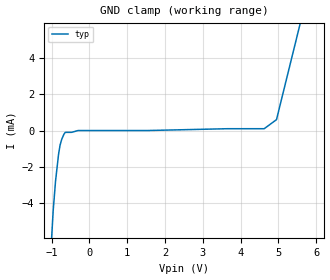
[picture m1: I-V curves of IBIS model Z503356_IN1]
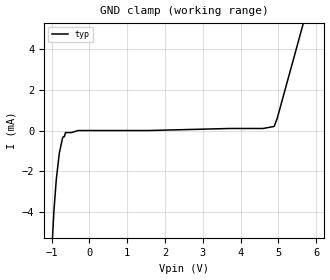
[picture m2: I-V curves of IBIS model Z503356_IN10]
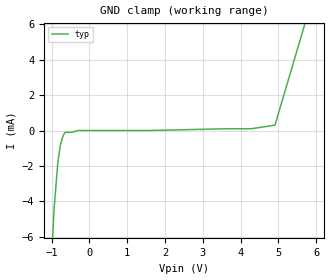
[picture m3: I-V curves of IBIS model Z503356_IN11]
| YOU ARE ONLY AUTHORIZED TO USE THIS SOFTWARE
| ACCORDING TO LICENSOR'S LICENSE RESTRICTIONS.
[IBIS Ver] 3.1
[File Name] mc100e104fn_pecl.ibs
[File Rev] 2.0
[Source] Measured and created by ICX Technology
[Date] Friday 7/14/00 9:07:46 AM
[Copyright]
| (C) COPYRIGHT 1993-2000
| MENTOR GRAPHICS CORPORATION
| ICX STANDARD LIBRARY, ICX PROJECT MODELING,
| ICX CUSTOM MODELING, ICX VENDOR MODEL
| ALL RIGHTS RESERVED.
| THE FOLLOWING ARE TRADEMARKS OR SERVICE MARKS OF
| MENTOR GRAPHICS CORPORATION:ICX (R), ICX STANDARD
| LIBRARY(R), ICX PROJECT MODELING(R), ICX CUSTOM
| MODELING(R), qualityIBIS(TM), MODELVIEWER(TM),
| AND MODELEDITOR(TM)
| ALL COPIES OF SOFTWARE, INCLUDING BUT NOT LIMITED TO
| ANY MODIFICATIONS, ENHANCEMENTS OR DERIVATIVE WORKS,
| MUST CONTAIN ALL MENTOR GRAPHICS CORPORATION'S
| NOTICES AND LEGENDS, INCLUDING THOSE EMBEDDED IN
| SOFTWARE AND THOSE AFFIXED TO SOFTWARE MEDIUM
| AND CONTAINER, AS RECEIVED FROM MENTOR GRAPHICS
| CORPORATION.
|  ZAP Model Builder 2.7
[Component] MC100E104FN_PECL
[Manufacturer] OnSemiconductor
[Package]
| variable   typ   min   max
R_pkg  .083ohms NA NA
L_pkg  4.299nH NA NA
C_pkg  1.045pF NA NA
[Pin] signal_name  model_name  R_pin  L_pin C_pin
1 VEE GND .08 3.94n .925p
2 D1a Z503356_IN1 .082 4.14n .995p
3 D1b Z503356_IN1 .084 4.354n 1.065p
4 D0a Z503356_IN2 .086 4.583n 1.135p
5 D0b Z503356_IN2 .086 4.583n 1.135p
6 VCCO POWER .084 4.354n 1.065p
7 Q0 Z503356_OUT3 .082 4.14n .995p
8 _Q0 Z503356_OUT4 .08 3.94n .925p
9 Q1 Z503356_OUT3 .082 4.14n .995p
10 _Q1 Z503356_OUT4 .084 4.354n 1.065p
11 VCCO POWER .086 4.583n 1.135p
12 Q2 Z503356_OUT5 .086 4.583n 1.135p
13 _Q2 Z503356_OUT6 .084 4.354n 1.065p
14 Q3 Z503356_OUT5 .082 4.14n .995p
15 _Q3 Z503356_OUT6 .08 3.94n .925p
16 VCC POWER .082 4.14n .995p
17 Q4 Z503356_OUT7 .084 4.354n 1.065p
18 _Q4 Z503356_OUT8 .086 4.583n 1.135p
19 _F Z503356_OUT8 .086 4.583n 1.135p
20 F Z503356_OUT3 .084 4.354n 1.065p
21 VCCO POWER .082 4.14n .995p
22 NC NC .08 3.94n .925p
23 D4a Z503356_IN9 .082 4.14n .995p
24 D4b Z503356_IN9 .084 4.354n 1.065p
25 D3a Z503356_IN10 .086 4.583n 1.135p
26 D3b Z503356_IN10 .086 4.583n 1.135p
27 D2a Z503356_IN11 .084 4.354n 1.065p
28 D2b Z503356_IN11 .082 4.14n .995p
| Models and submodels in the file (11): Z503356_IN1 (Input_ECL), Z503356_IN10 (Input_ECL), Z503356_IN11 (Input_ECL), Z503356_IN2 (Input_ECL), Z503356_IN9 (Input_ECL), Z503356_OUT3 (Output_ECL), Z503356_OUT4 (Output_ECL), Z503356_OUT5 (Output_ECL), Z503356_OUT6 (Output_ECL), Z503356_OUT7 (Output_ECL), Z503356_OUT8 (Output_ECL)
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| (C) COPYRIGHT 1993-2000
| MENTOR GRAPHICS CORPORATION
| ICX STANDARD LIBRARY, ICX PROJECT MODELING,
| ICX CUSTOM MODELING, ICX VENDOR MODEL
| ALL RIGHTS RESERVED.
| THE FOLLOWING ARE TRADEMARKS OR SERVICE MARKS OF
| MENTOR GRAPHICS CORPORATION:ICX (R), ICX STANDARD
| LIBRARY(R), ICX PROJECT MODELING(R), ICX CUSTOM
| MODELING(R), qualityIBIS(TM), MODELVIEWER(TM),
| AND MODELEDITOR(TM)
| ALL COPIES OF SOFTWARE, INCLUDING BUT NOT LIMITED TO
| ANY MODIFICATIONS, ENHANCEMENTS OR DERIVATIVE WORKS,
| MUST CONTAIN ALL MENTOR GRAPHICS CORPORATION'S
| NOTICES AND LEGENDS, INCLUDING THOSE EMBEDDED IN
| SOFTWARE AND THOSE AFFIXED TO SOFTWARE MEDIUM
| AND CONTAINER, AS RECEIVED FROM MENTOR GRAPHICS
| CORPORATION.
| Model Application Version 1.89 2/18/99.
[Model] Z503356_IN1
Model_type Input_ECL
Vinl = 3.525V
Vinh = 3.835V
C_comp 4.000pF NA NA
| variable typ   min   max
[Voltage Range] 5.000V NA NA
[GND Clamp Reference] 0.000V NA NA
[POWER Clamp Reference] 5.000V NA NA
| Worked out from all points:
|   GND clamp passes 1 mA (typ) near -0.79 V on its own axis
[GND Clamp]
-5V       -201.6mA   NA         NA
-1.079V   -8.8mA     NA         NA
-957mV    -4.4mA     NA         NA
-896mV    -2.8mA     NA         NA
-815mV    -1.3mA     NA         NA
-775mV    -800uA     NA         NA
-734mV    -500uA     NA         NA
-637.7mV  -100uA     NA         NA
-301.3mV  0A         NA         NA
4.625V    100uA      NA         NA
4.95V     600uA      NA         NA
10V       43.28mA    NA         NA
[POWER Clamp]
-5V       0A         NA         NA
10V       0A         NA         NA
| (C) COPYRIGHT 1993-2000
| MENTOR GRAPHICS CORPORATION
| ICX STANDARD LIBRARY, ICX PROJECT MODELING,
| ICX CUSTOM MODELING, ICX VENDOR MODEL
| ALL RIGHTS RESERVED.
| THE FOLLOWING ARE TRADEMARKS OR SERVICE MARKS OF
| MENTOR GRAPHICS CORPORATION:ICX (R), ICX STANDARD
| LIBRARY(R), ICX PROJECT MODELING(R), ICX CUSTOM
| MODELING(R), qualityIBIS(TM), MODELVIEWER(TM),
| AND MODELEDITOR(TM)
| ALL COPIES OF SOFTWARE, INCLUDING BUT NOT LIMITED TO
| ANY MODIFICATIONS, ENHANCEMENTS OR DERIVATIVE WORKS,
| MUST CONTAIN ALL MENTOR GRAPHICS CORPORATION'S
| NOTICES AND LEGENDS, INCLUDING THOSE EMBEDDED IN
| SOFTWARE AND THOSE AFFIXED TO SOFTWARE MEDIUM
| AND CONTAINER, AS RECEIVED FROM MENTOR GRAPHICS
| CORPORATION.
| Model Application Version 1.89 2/18/99.
[Model] Z503356_IN10
Model_type Input_ECL
Vinl = 3.525V
Vinh = 3.835V
C_comp 4.000pF NA NA
| variable typ   min   max
[Voltage Range] 5.000V NA NA
[GND Clamp Reference] 0.000V NA NA
[POWER Clamp Reference] 5.000V NA NA
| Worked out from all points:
|   GND clamp passes 1 mA (typ) near -0.78 V on its own axis
[GND Clamp]
-5V       -201.6mA   NA         NA
-1.079V   -8.8mA     NA         NA
-937mV    -3.9mA     NA         NA
-876mV    -2.4mA     NA         NA
-795mV    -1.1mA     NA         NA
-714mV    -400uA     NA         NA
-660.9mV  -300uA     NA         NA
-633mV    -100uA     NA         NA
4.595V    100uA      NA         NA
4.889V    200uA      NA         NA
4.97V     600uA      NA         NA
10V       34.43mA    NA         NA
[POWER Clamp]
-5V       0A         NA         NA
10V       0A         NA         NA
| (C) COPYRIGHT 1993-2000
| MENTOR GRAPHICS CORPORATION
| ICX STANDARD LIBRARY, ICX PROJECT MODELING,
| ICX CUSTOM MODELING, ICX VENDOR MODEL
| ALL RIGHTS RESERVED.
| THE FOLLOWING ARE TRADEMARKS OR SERVICE MARKS OF
| MENTOR GRAPHICS CORPORATION:ICX (R), ICX STANDARD
| LIBRARY(R), ICX PROJECT MODELING(R), ICX CUSTOM
| MODELING(R), qualityIBIS(TM), MODELVIEWER(TM),
| AND MODELEDITOR(TM)
| ALL COPIES OF SOFTWARE, INCLUDING BUT NOT LIMITED TO
| ANY MODIFICATIONS, ENHANCEMENTS OR DERIVATIVE WORKS,
| MUST CONTAIN ALL MENTOR GRAPHICS CORPORATION'S
| NOTICES AND LEGENDS, INCLUDING THOSE EMBEDDED IN
| SOFTWARE AND THOSE AFFIXED TO SOFTWARE MEDIUM
| AND CONTAINER, AS RECEIVED FROM MENTOR GRAPHICS
| CORPORATION.
| Model Application Version 1.89 2/18/99.
[Model] Z503356_IN11
Model_type Input_ECL
Vinl = 3.525V
Vinh = 3.835V
C_comp 4.000pF NA NA
| variable typ   min   max
[Voltage Range] 5.000V NA NA
[GND Clamp Reference] 0.000V NA NA
[POWER Clamp Reference] 5.000V NA NA
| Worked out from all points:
|   GND clamp passes 1 mA (typ) near -0.78 V on its own axis
[GND Clamp]
-5V       -254.9mA   NA         NA
-1.079V   -10.6mA    NA         NA
-937mV    -4.5mA     NA         NA
-835mV    -1.8mA     NA         NA
-775mV    -900uA     NA         NA
-714mV    -400uA     NA         NA
-637.7mV  -100uA     NA         NA
-469.5mV  -100uA     NA         NA
-301.3mV  0A         NA         NA
4.28V     100uA      NA         NA
4.909V    300uA      NA         NA
10V       37.02mA    NA         NA
[POWER Clamp]
-5V       0A         NA         NA
10V       0A         NA         NA
